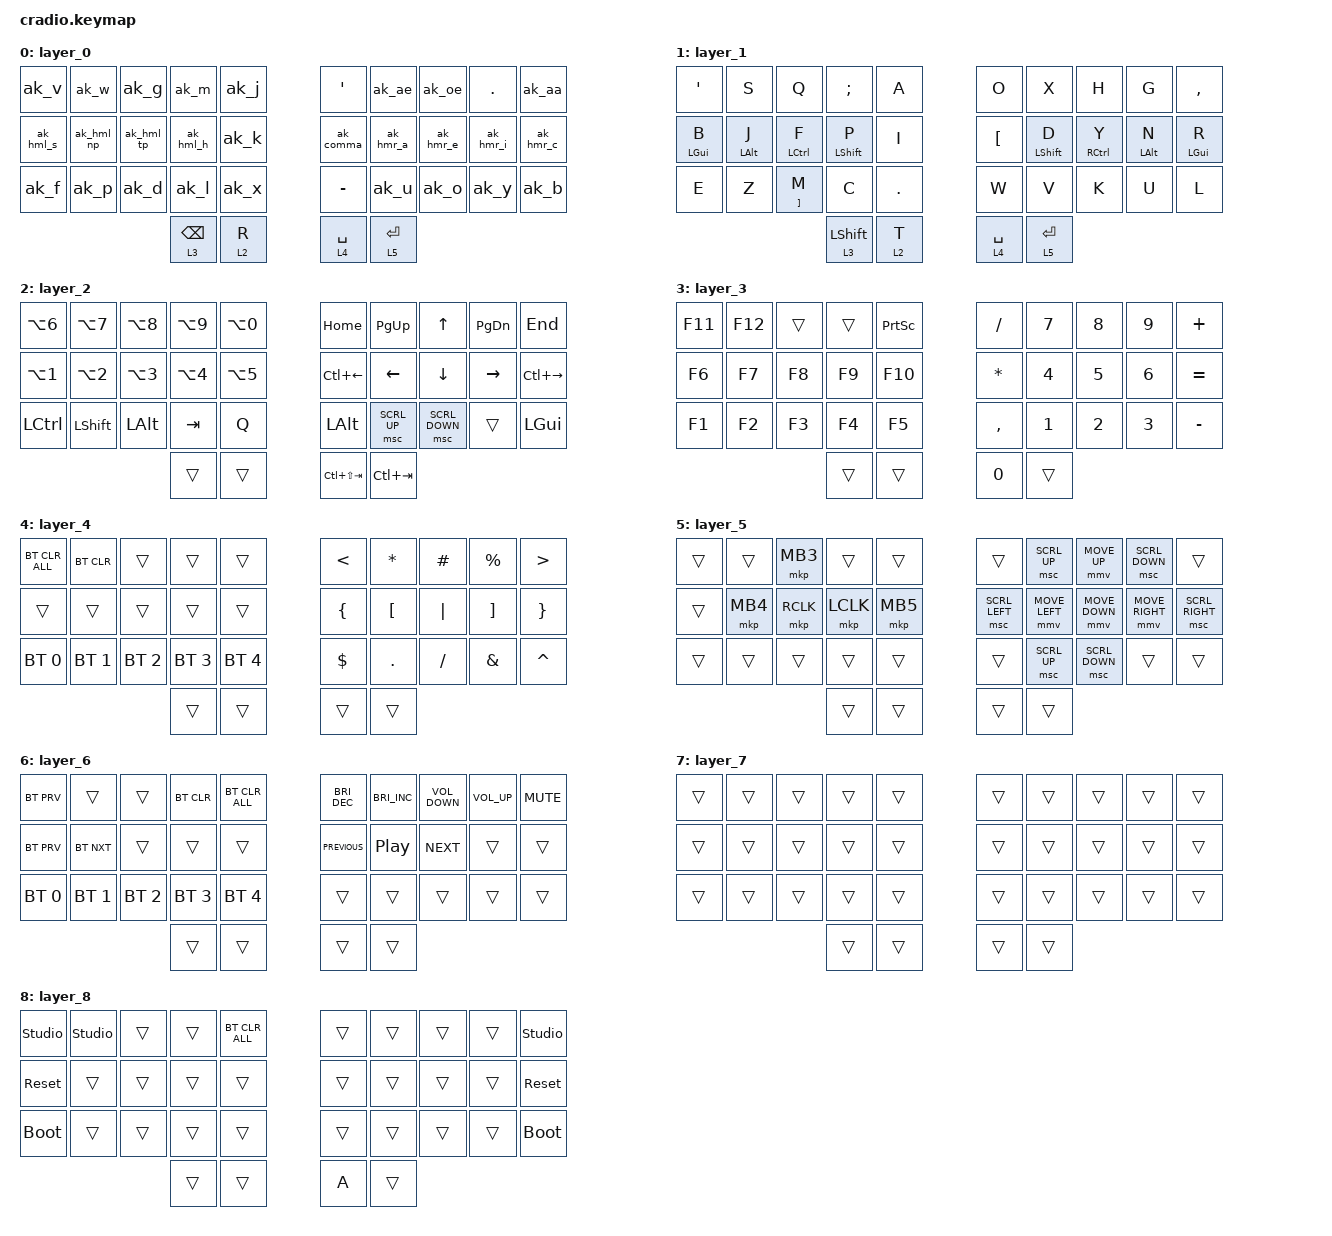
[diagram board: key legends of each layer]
#include <behaviors.dtsi>
#include <dt-bindings/zmk/bt.h>
#include <dt-bindings/zmk/keys.h>
#include <dt-bindings/zmk/pointing.h>

// Using Urob's timeless homerow mods
// Trying to make sure that sticky shift only shifts one key after being pressed.

&sk {
    release-after-ms = <1000>;
    quick-release;
};

// Faster mouse movements

#define ZMK_POINTING_DEFAULT_MOVE_VAL 1500  // default: 600
#define ZMK_POINTING_DEFAULT_SCRL_VAL 20    // default: 10

/ {
    behaviors {
        hml: home_row_mod_left {
            compatible = "zmk,behavior-hold-tap";
            #binding-cells = <2>;
            flavor = "balanced";
            require-prior-idle-ms = <150>;
            tapping-term-ms = <280>;
            quick-tap-ms = <175>;
            bindings = <&kp>, <&kp>;

            hold-trigger-key-positions = <0 1 2 3 4 10 11 12 13 14 20 21 22 23 24 30 31>; // List of keys on the right side of the keyboard
            hold-trigger-on-release;
        };

        hmr: home_row_mod_right {
            compatible = "zmk,behavior-hold-tap";
            #binding-cells = <2>;
            flavor = "balanced";
            require-prior-idle-ms = <150>;
            tapping-term-ms = <280>;
            quick-tap-ms = <175>;
            bindings = <&kp>, <&kp>;

            hold-trigger-key-positions = <5 6 7 8 9 15 16 17 18 19 25 26 27 28 29 32 33>; // List of keys on the left side of the keyboard
            hold-trigger-on-release;
        };
        // Make function to allow copy on tap and cut on hold
        copy_cut: copy_cut {
            compatible = "zmk,behavior-hold-tap";
            #binding-cells = <2>;
            flavor = "tap-preferred";
            tapping-term-ms = <200>;
            bindings = <&kp>, <&kp>;
        };
        // Comma Magic for homerow-mod S: tap after comma = capital S, hold = mod (unaffected)

        ak_hml_s: ak_hml_s {
            compatible = "zmk,behavior-adaptive-key";
            #binding-cells = <0>;
            bindings = <&hml LEFT_GUI S>;

            akt_comma_s {
                trigger-keys = <COMMA>;
                bindings = <&comma_cap_s>;
                max-prior-idle-ms = <500>;
            };
        };

        ak_hml_h: ak_hml_h {
            compatible = "zmk,behavior-adaptive-key";
            #binding-cells = <0>;
            bindings = <&hml LEFT_SHIFT H>;

            akt_comma_s {
                trigger-keys = <COMMA>;
                bindings = <&comma_cap_h>;
                max-prior-idle-ms = <500>;
            };
        };

        ak_hml_c: ak_hml_c {
            compatible = "zmk,behavior-adaptive-key";
            #binding-cells = <0>;
            bindings = <&hml LALT C>;

            akt_comma_c {
                trigger-keys = <COMMA>;
                bindings = <&comma_cap_c>;
                max-prior-idle-ms = <500>;
            };
        };

        ak_hmr_c: ak_hmr_c {
            compatible = "zmk,behavior-adaptive-key";
            #binding-cells = <0>;
            bindings = <&hmr LEFT_GUI C>;

            akt_comma_c {
                trigger-keys = <COMMA>;
                bindings = <&comma_cap_c>;
                max-prior-idle-ms = <500>;
            };
        };

        ak_hml_n: ak_hml_n {
            compatible = "zmk,behavior-adaptive-key";
            #binding-cells = <0>;
            bindings = <&hml LEFT_CONTROL N>;

            akt_comma_n {
                trigger-keys = <COMMA>;
                bindings = <&comma_cap_n>;
                max-prior-idle-ms = <500>;
            };
        };

        ak_hml_np: ak_hml_np {
            compatible = "zmk,behavior-adaptive-key";
            #binding-cells = <0>;
            bindings = <&hml LALT N>;

            akt_comma_n {
                trigger-keys = <COMMA>;
                bindings = <&comma_cap_n>;
                max-prior-idle-ms = <500>;
            };
        };

        ak_hml_t: ak_hml_t {
            compatible = "zmk,behavior-adaptive-key";
            #binding-cells = <0>;
            bindings = <&hml LEFT_SHIFT T>;

            akt_comma_t {
                trigger-keys = <COMMA>;
                bindings = <&comma_cap_t>;
                max-prior-idle-ms = <500>;
            };
        };

        ak_hml_tp: ak_hml_tp {
            compatible = "zmk,behavior-adaptive-key";
            #binding-cells = <0>;
            bindings = <&hml LEFT_CONTROL T>;

            akt_comma_t {
                trigger-keys = <COMMA>;
                bindings = <&comma_cap_t>;
                max-prior-idle-ms = <500>;
            };
        };

        // Make two commas do CAPSWORD
        ak_comma: ak_comma {
            compatible = "zmk,behavior-adaptive-key";
            #binding-cells = <0>;
            bindings = <&kp COMMA>;

            akt_comma_caps {
                trigger-keys = <COMMA>;
                bindings = <&kp BSPC &caps_word>;
                max-prior-idle-ms = <500>;
            };
        };
        // Adding linger on mjagkij znak - tvjordij znak
        linger: linger {
            compatible = "zmk,behavior-hold-tap";
            #binding-cells = <2>;
            flavor = "tap-preferred";
            tapping-term-ms = <200>;
            bindings = <&kp>, <&kp>;
        };
        // Comma Magic for homerow-mod A

        ak_hmr_a: ak_hmr_a {
            compatible = "zmk,behavior-adaptive-key";
            #binding-cells = <0>;
            bindings = <&hmr LEFT_SHIFT A>;

            akt_comma_a2 {
                trigger-keys = <COMMA>;
                bindings = <&comma_cap_a>;
                max-prior-idle-ms = <500>;
            };
        };

        ak_hmr_e: ak_hmr_e {
            compatible = "zmk,behavior-adaptive-key";
            #binding-cells = <0>;
            bindings = <&hmr RIGHT_CONTROL E>;

            akt_comma_e {
                trigger-keys = <COMMA>;
                bindings = <&comma_cap_e>;
                max-prior-idle-ms = <500>;
            };
        };

        ak_hmr_i: ak_hmr_i {
            compatible = "zmk,behavior-adaptive-key";
            #binding-cells = <0>;
            bindings = <&hmr LALT I>;

            akt_comma_i {
                trigger-keys = <COMMA>;
                bindings = <&comma_cap_i>;
                max-prior-idle-ms = <500>;
            };
        };

        ak_hmr_h: ak_hmr_h {
            compatible = "zmk,behavior-adaptive-key";
            #binding-cells = <0>;
            bindings = <&hmr LEFT_GUI H>;

            akt_comma_h {
                trigger-keys = <COMMA>;
                bindings = <&comma_cap_h>;
                max-prior-idle-ms = <500>;
            };
        };

        // Layer-tap with one-shot Shift on tap: tap = sticky shift, hold = layer (first parameter).
        // Used on the Russian layer's left thumb key at position 30 (where Backspace sits on the base layer).
        lt_sk: layer_tap_sticky_shift {
            compatible = "zmk,behavior-hold-tap";
            #binding-cells = <2>;
            flavor = "balanced";
            tapping-term-ms = <200>;
            bindings = <&mo>, <&sk>;
        };

        // Layer-tap for R: hold = layer (param), tap = comma-aware R

        lt_r: layer_tap_r {
            compatible = "zmk,behavior-hold-tap";
            #binding-cells = <2>;
            flavor = "balanced";
            tapping-term-ms = <150>;
            require-prior-idle-ms = <150>;
            bindings = <&mo>, <&ak_r>;
        };

        // Comma Magic test: typing comma then G capitalizes it (deletes the comma)

        ak_g: ak_g {
            compatible = "zmk,behavior-adaptive-key";
            #binding-cells = <0>;
            bindings = <&kp G>;

            akt_comma_g {
                trigger-keys = <COMMA>;
                bindings = <&kp BSPC &kp LS(G)>;
                max-prior-idle-ms = <500>;
            };
        };

        ak_x: ak_x {
            compatible = "zmk,behavior-adaptive-key";
            #binding-cells = <0>;
            bindings = <&kp X>;

            akt_comma_x {
                trigger-keys = <COMMA>;
                bindings = <&kp BSPC &kp LS(X)>;
                max-prior-idle-ms = <500>;
            };
        };

        ak_q: ak_q {
            compatible = "zmk,behavior-adaptive-key";
            #binding-cells = <0>;
            bindings = <&kp Q>;

            akt_comma_q {
                trigger-keys = <COMMA>;
                bindings = <&kp BSPC &kp LS(Q)>;
                max-prior-idle-ms = <500>;
            };
        };

        ak_r: ak_r {
            compatible = "zmk,behavior-adaptive-key";
            #binding-cells = <0>;
            bindings = <&kp R>;

            akt_comma_r {
                trigger-keys = <COMMA>;
                bindings = <&kp BSPC &kp LS(R)>;
                max-prior-idle-ms = <500>;
            };
        };

        ak_m: ak_m {
            compatible = "zmk,behavior-adaptive-key";
            #binding-cells = <0>;
            bindings = <&kp M>;

            akt_comma_m {
                trigger-keys = <COMMA>;
                bindings = <&kp BSPC &kp LS(M)>;
                max-prior-idle-ms = <500>;
            };
        };

        ak_p: ak_p {
            compatible = "zmk,behavior-adaptive-key";
            #binding-cells = <0>;
            bindings = <&kp P>;

            akt_comma_p {
                trigger-keys = <COMMA>;
                bindings = <&kp BSPC &kp LS(P)>;
                max-prior-idle-ms = <500>;
            };
        };

        ak_j: ak_j {
            compatible = "zmk,behavior-adaptive-key";
            #binding-cells = <0>;
            bindings = <&kp J>;

            akt_comma_j {
                trigger-keys = <COMMA>;
                bindings = <&kp BSPC &kp LS(J)>;
                max-prior-idle-ms = <500>;
            };
        };

        ak_w: ak_w {
            compatible = "zmk,behavior-adaptive-key";
            #binding-cells = <0>;
            bindings = <&kp W>;

            akt_comma_w {
                trigger-keys = <COMMA>;
                bindings = <&kp BSPC &kp LS(W)>;
                max-prior-idle-ms = <500>;
            };
        };

        ak_f: ak_f {
            compatible = "zmk,behavior-adaptive-key";
            #binding-cells = <0>;
            bindings = <&kp F>;

            akt_comma_f {
                trigger-keys = <COMMA>;
                bindings = <&kp BSPC &kp LS(F)>;
                max-prior-idle-ms = <500>;
            };
        };

        ak_l: ak_l {
            compatible = "zmk,behavior-adaptive-key";
            #binding-cells = <0>;
            bindings = <&kp L>;

            akt_comma_l {
                trigger-keys = <COMMA>;
                bindings = <&kp BSPC &kp LS(L)>;
                max-prior-idle-ms = <500>;
            };
        };

        ak_d: ak_d {
            compatible = "zmk,behavior-adaptive-key";
            #binding-cells = <0>;
            bindings = <&kp D>;

            akt_comma_d {
                trigger-keys = <COMMA>;
                bindings = <&kp BSPC &kp LS(D)>;
                max-prior-idle-ms = <500>;
            };
        };

        ak_v: ak_v {
            compatible = "zmk,behavior-adaptive-key";
            #binding-cells = <0>;
            bindings = <&kp V>;

            akt_comma_v {
                trigger-keys = <COMMA>;
                bindings = <&kp BSPC &kp LS(V)>;
                max-prior-idle-ms = <500>;
            };
        };

        ak_u: ak_u {
            compatible = "zmk,behavior-adaptive-key";
            #binding-cells = <0>;
            bindings = <&kp U>;

            akt_comma_u {
                trigger-keys = <COMMA>;
                bindings = <&kp BSPC &kp LS(U)>;
                max-prior-idle-ms = <500>;
            };
        };

        ak_o: ak_o {
            compatible = "zmk,behavior-adaptive-key";
            #binding-cells = <0>;
            bindings = <&kp O>;

            akt_comma_o {
                trigger-keys = <COMMA>;
                bindings = <&kp BSPC &kp LS(O)>;
                max-prior-idle-ms = <500>;
            };
        };

        ak_y: ak_y {
            compatible = "zmk,behavior-adaptive-key";
            #binding-cells = <0>;
            bindings = <&kp Y>;

            akt_comma_y {
                trigger-keys = <COMMA>;
                bindings = <&kp BSPC &kp LS(Y)>;
                max-prior-idle-ms = <500>;
            };
        };

        ak_b: ak_b {
            compatible = "zmk,behavior-adaptive-key";
            #binding-cells = <0>;
            bindings = <&kp B>;

            akt_comma_b {
                trigger-keys = <COMMA>;
                bindings = <&kp BSPC &kp LS(B)>;
                max-prior-idle-ms = <500>;
            };
        };

        ak_k: ak_k {
            compatible = "zmk,behavior-adaptive-key";
            #binding-cells = <0>;
            bindings = <&kp K>;

            akt_comma_k {
                trigger-keys = <COMMA>;
                bindings = <&kp BSPC &kp LS(K)>;
                max-prior-idle-ms = <500>;
            };
        };

        //Adding stuff needed for the Thornium layout
        ak_h: ak_h {
            compatible = "zmk,behavior-adaptive-key";
            #binding-cells = <0>;
            bindings = <&kp H>;

            akt_comma_h_plain {
                trigger-keys = <COMMA>;
                bindings = <&kp BSPC &kp LS(H)>;
                max-prior-idle-ms = <500>;
            };
        };

        ak_hmr_m: ak_hmr_m {
            compatible = "zmk,behavior-adaptive-key";
            #binding-cells = <0>;
            bindings = <&hmr LEFT_GUI M>;

            akt_comma_m_hmr {
                trigger-keys = <COMMA>;
                bindings = <&kp BSPC &kp LS(M)>;
                max-prior-idle-ms = <500>;
            };
        };

        // Comma Magic for umlaut macros: comma + umlaut produces the capitalized umlaut

        ak_ae: ak_ae {
            compatible = "zmk,behavior-adaptive-key";
            #binding-cells = <0>;
            bindings = <&ae_umlaut>;

            akt_comma_ae {
                trigger-keys = <COMMA>;
                bindings = <&kp BSPC &kp RA(LS(A))>;
                max-prior-idle-ms = <500>;
            };
        };

        ak_aa: ak_aa {
            compatible = "zmk,behavior-adaptive-key";
            #binding-cells = <0>;
            bindings = <&aa_umlaut>;

            akt_comma_aa {
                trigger-keys = <COMMA>;
                bindings = <&kp BSPC &kp RA(LS(W))>;
                max-prior-idle-ms = <500>;
            };
        };

        ak_oe: ak_oe {
            compatible = "zmk,behavior-adaptive-key";
            #binding-cells = <0>;
            bindings = <&oe_umlaut>;

            akt_comma_oe {
                trigger-keys = <COMMA>;
                bindings = <&kp BSPC &kp RA(LS(O))>;
                max-prior-idle-ms = <500>;
            };
        };
    };

    // Maybe add require-idle-ms 150 for horizontal combos and change timeout-ms to 30 for vertical and idle to 50 as per urob

    combos {
        compatible = "zmk,combos";

        //    timeout-ms = <20>;

        m_enter {
            bindings = <&kp ENTER>;
            key-positions = <16 17 18>;
            timeout-ms = <20>;
            require-prior-idle-ms = <150>;
        };

        th {
            bindings = <&th>;
            key-positions = <12 13>;
            timeout-ms = <20>;
        };

        left_par {
            bindings = <&kp LEFT_PARENTHESIS>;
            key-positions = <16 17>;
            timeout-ms = <20>;
            require-prior-idle-ms = <150>;
        };

        right_par {
            bindings = <&kp RIGHT_PARENTHESIS>;
            key-positions = <17 18>;
            timeout-ms = <20>;
            require-prior-idle-ms = <150>;
        };

        // equals {
        //     bindings = <&kp EQUAL>;
        //     key-positions = <18 19>;
        //     timeout-ms = <20>;
        // };


        acute {
            bindings = <&kp RA(APOS)>;
            key-positions = <1 11>;
            timeout-ms = <30>;
            require-prior-idle-ms = <50>;
            layers = <0>;
        };

        colon {
            bindings = <&kp COLON>;
            key-positions = <16 18>;
            timeout-ms = <20>;
            require-prior-idle-ms = <150>;
        };

        curvy {
            bindings = <&kp TILDE>;
            key-positions = <25 29>;
            timeout-ms = <20>;
            require-prior-idle-ms = <150>;
        };

        underscore {
            bindings = <&kp UNDER>;
            key-positions = <28 26>;
            timeout-ms = <20>;
            require-prior-idle-ms = <150>;
        };

        snabela {
            bindings = <&kp AT>;
            key-positions = <5 6>;
            timeout-ms = <20>;
            require-prior-idle-ms = <150>;
        };

        tab {
            bindings = <&kp TAB>;
            key-positions = <0 1>;
            timeout-ms = <20>;
            require-prior-idle-ms = <150>;
        };

        Stab {
            bindings = <&kp LS(TAB)>;
            key-positions = <0 1 2>;
            timeout-ms = <20>;
            require-prior-idle-ms = <150>;
        };

        space {
            bindings = <&kp SPACE>;
            key-positions = <13 14>;
            timeout-ms = <20>;
            require-prior-idle-ms = <150>;
        };

        escape {
            bindings = <&kp ESCAPE>;
            key-positions = <10 13>;
            timeout-ms = <20>;
            require-prior-idle-ms = <150>;
        };

        zed {
            bindings = <&kp Z>;
            key-positions = <11 13>;
            timeout-ms = <20>;
            require-prior-idle-ms = <150>;
            layers = <0>;
        };

        excl {
            bindings = <&kp EXCLAMATION>;
            key-positions = <6 7>;
            timeout-ms = <20>;
        };

        doubleq {
            bindings = <&kp DOUBLE_QUOTES>;
            key-positions = <6 8>;
            timeout-ms = <20>;
        };

        semicolon {
            bindings = <&kp SEMICOLON>;
            key-positions = <3 4>;
            timeout-ms = <20>;
        };

        question {
            bindings = <&kp QUESTION>;
            key-positions = <7 8>;
            timeout-ms = <20>;
        };

        Backspace {
            bindings = <&kp BACKSPACE>;
            key-positions = <15 16>;
            timeout-ms = <20>;
        };

        ion {
            bindings = <&ion>;
            key-positions = <6 7 8>;
            timeout-ms = <20>;
            layers = <0>;
        };

        ing {
            bindings = <&ing>;
            key-positions = <26 27 28>;
            timeout-ms = <20>;
            layers = <0>;
        };

        gh {
            bindings = <&gh>;
            key-positions = <2 3>;
            timeout-ms = <20>;
            layers = <0>;
        };

        wh {
            bindings = <&wh>;
            key-positions = <1 2>;
            timeout-ms = <20>;
            layers = <0>;
        };

        sh {
            bindings = <&sh>;
            key-positions = <10 11>;
            timeout-ms = <20>;
            layers = <0>;
        };

        ch {
            bindings = <&ch>;
            key-positions = <11 12>;
            timeout-ms = <20>;
            layers = <0>;
        };

        ph {
            bindings = <&ph>;
            key-positions = <20 21>;
            timeout-ms = <20>;
            layers = <0>;
        };

        tsya {
            bindings = <&tsya>;
            key-positions = <21 23>;
            layers = <1>;
            timeout-ms = <20>;
        };

        copy {
            bindings = <&copy_cut LC(X) LC(C)>;
            key-positions = <21 22>;
            timeout-ms = <20>;
            require-prior-idle-ms = <150>;
        };

        paste {
            bindings = <&kp LC(V)>;
            key-positions = <22 23>;
            timeout-ms = <20>;
            require-prior-idle-ms = <150>;
        };

        sall {
            bindings = <&kp LC(A)>;
            key-positions = <20 23>;
            timeout-ms = <20>;
            require-prior-idle-ms = <150>;
        };

        undo {
            bindings = <&kp LC(Z)>;
            key-positions = <20 21 22>;
            timeout-ms = <20>;
            require-prior-idle-ms = <150>;
        };

        redo {
            bindings = <&kp LC(LS(Z))>;
            key-positions = <20 21 22 23>;
            timeout-ms = <20>;
            require-prior-idle-ms = <150>;
        };

        quit {
            bindings = <&kp LC(Q)>;
            key-positions = <4 14>;
            timeout-ms = <30>;
            require-prior-idle-ms = <50>;
        };

        new {
            bindings = <&kp LC(N)>;
            key-positions = <14 24>;
            timeout-ms = <20>;
            require-prior-idle-ms = <150>;
        };

        close {
            bindings = <&kp LC(W)>;
            key-positions = <5 15>;
            timeout-ms = <30>;
            require-prior-idle-ms = <50>;
        };

        open {
            bindings = <&kp LC(O)>;
            key-positions = <5 25>;
            timeout-ms = <20>;
            require-prior-idle-ms = <150>;
        };

        selword {
            bindings = <&selword>;
            key-positions = <20 24>;
            timeout-ms = <20>;
            require-prior-idle-ms = <150>;
        };

        findsel {
            bindings = <&findsel>;
            key-positions = <10 14>;
            timeout-ms = <20>;
            require-prior-idle-ms = <150>;
        };

        slash {
            bindings = <&kp SLASH>;
            key-positions = <1 2 3>;
            timeout-ms = <20>;
        };

        altslash {
            bindings = <&kp SLASH>;
            key-positions = <17 27>;
            timeout-ms = <30>;
            require-prior-idle-ms = <50>;
        };

        pipe {
            bindings = <&kp PIPE>;
            key-positions = <18 28>;
            timeout-ms = <30>;
            require-prior-idle-ms = <50>;
        };

        plus {
            bindings = <&kp PLUS>;
            key-positions = <6 16>;
            timeout-ms = <30>;
            require-prior-idle-ms = <50>;
        };

        minus {
            bindings = <&kp MINUS>;
            key-positions = <16 26>;
            timeout-ms = <30>;
            require-prior-idle-ms = <50>;
        };

        asterix {
            bindings = <&kp ASTRK>;
            key-positions = <7 17>;
            timeout-ms = <30>;
            require-prior-idle-ms = <50>;
        };

        andthen {
            bindings = <&kp AMPS>;
            key-positions = <8 18>;
            timeout-ms = <30>;
            require-prior-idle-ms = <50>;
        };

        lbracket {
            bindings = <&kp LEFT_BRACKET>;
            key-positions = <26 27>;
            timeout-ms = <20>;
            require-prior-idle-ms = <150>;
        };

        rbracket {
            bindings = <&kp RIGHT_BRACKET>;
            key-positions = <27 28>;
            timeout-ms = <20>;
            require-prior-idle-ms = <150>;
        };

        q {
            bindings = <&ak_q>;
            key-positions = <9 19>;
            timeout-ms = <30>;
            require-prior-idle-ms = <50>;
        };

        del {
            bindings = <&kp DELETE>;
            key-positions = <8 9>;
            timeout-ms = <20>;
            require-prior-idle-ms = <150>;
        };

        hash {
            bindings = <&kp HASH>;
            key-positions = <2 12>;
            timeout-ms = <30>;
            require-prior-idle-ms = <50>;
        };

        dollar {
            bindings = <&kp DOLLAR>;
            key-positions = <3 13>;
            timeout-ms = <30>;
            require-prior-idle-ms = <50>;
        };

        equality {
            bindings = <&kp EQUAL>;
            key-positions = <13 23>;
            timeout-ms = <30>;
            require-prior-idle-ms = <50>;
        };

        porciento {
            bindings = <&kp PERCENT>;
            key-positions = <0 10>;
            timeout-ms = <30>;
            require-prior-idle-ms = <50>;
        };

        grave {
            bindings = <&kp GRAVE>;
            key-positions = <10 20>;
            timeout-ms = <30>;
            require-prior-idle-ms = <50>;
        };

        backslash {
            bindings = <&kp BACKSLASH>;
            key-positions = <12 22>;
            timeout-ms = <30>;
            require-prior-idle-ms = <50>;
        };

        hd_enter {
            bindings = <&kp ENTER>;
            key-positions = <23 24>;
            timeout-ms = <20>;
            require-prior-idle-ms = <150>;
        };

        que {
            bindings = <&qu>;
            key-positions = <1 3>;
            timeout-ms = <20>;
            layers = <0>;
        };

        sch {
            bindings = <&sch>;
            key-positions = <10 11 12>;
            timeout-ms = <20>;
            layers = <0>;
        };

        tch {
            bindings = <&tch>;
            key-positions = <10 11 13>;
            timeout-ms = <20>;
            layers = <0>;
        };

        Ill {
            bindings = <&Ill>;
            key-positions = <18 23>;
            timeout-ms = <30>;
            layers = <0>;
        };

        Ive {
            bindings = <&Ive>;
            key-positions = <0 18>;
            timeout-ms = <30>;
            layers = <0>;
        };

        Id {
            bindings = <&Id>;
            key-positions = <18 22>;
            timeout-ms = <30>;
            layers = <0>;
        };

        Im {
            bindings = <&Im>;
            key-positions = <3 18>;
            timeout-ms = <20>;
            require-prior-idle-ms = <150>;
            layers = <0>;
        };

        Ime {
            bindings = <&kp LS(I)>;
            key-positions = <2 18>;
            timeout-ms = <20>;
            require-prior-idle-ms = <150>;
            layers = <0>;
        };

        youll {
            bindings = <&youll>;
            key-positions = <23 28>;
            timeout-ms = <30>;
            layers = <0>;
        };

        youve {
            bindings = <&youve>;
            key-positions = <0 28>;
            timeout-ms = <30>;
            layers = <0>;
        };

        youd {
            bindings = <&youd>;
            key-positions = <22 28>;
            timeout-ms = <30>;
            layers = <0>;
        };

        your {
            bindings = <&your>;
            key-positions = <28 30>;
            timeout-ms = <30>;
            layers = <0>;
        };

        // Not needed here: Promethium is layer 0 on this board. If you restore the old base
        // layer, re-add the toggle like this (and renumber the layers):
        // promethium_toggle {
        // bindings = <&tog 1>;
        // key-positions = <1 8>;
        // timeout-ms = <30>;
        // require-prior-idle-ms = <150>;
        // };

        //Add layer toggle from Russian layer
        russian_toggle {
            bindings = <&tog 1>;
            key-positions = <0 9>;
            timeout-ms = <30>;
            require-prior-idle-ms = <150>;
        };

        // Russian layer only: comma and dot on the top-row keys (this board has no outer pinky keys).
        // On the Russian host layout the dot is the slash key and the comma is Shift+slash.
        ru_comma {
            bindings = <&kp LS(SLASH)>;
            key-positions = <1 2>;
            layers = <1>;
            timeout-ms = <20>;
            require-prior-idle-ms = <50>;
        };

        ru_dot {
            bindings = <&kp SLASH>;
            key-positions = <2 3>;
            layers = <1>;
            timeout-ms = <20>;
            require-prior-idle-ms = <50>;
        };
    };

    // Maybe add timing to digraph macros - tap-ms = 10 (is the value that HD creator uses.)

    macros {
        comma_cap_s: comma_cap_s {
            compatible = "zmk,behavior-macro";
            #binding-cells = <0>;
            bindings = <&kp BSPC &kp LS(S)>;
            label = "COMMA_CAP_S";
        };

        comma_cap_c: comma_cap_c {
            compatible = "zmk,behavior-macro";
            #binding-cells = <0>;
            bindings = <&kp BSPC &kp LS(C)>;
            label = "COMMA_CAP_C";
        };

        comma_cap_n: comma_cap_n {
            compatible = "zmk,behavior-macro";
            #binding-cells = <0>;
            bindings = <&kp BSPC &kp LS(N)>;
            label = "COMMA_CAP_N";
        };

        comma_cap_t: comma_cap_t {
            compatible = "zmk,behavior-macro";
            #binding-cells = <0>;
            bindings = <&kp BSPC &kp LS(T)>;
            label = "COMMA_CAP_T";
        };

        comma_cap_a: comma_cap_a {
            compatible = "zmk,behavior-macro";
            #binding-cells = <0>;
            bindings = <&kp BSPC &kp LS(A)>;
            label = "COMMA_CAP_A";
        };

        comma_cap_e: comma_cap_e {
            compatible = "zmk,behavior-macro";
            #binding-cells = <0>;
            bindings = <&kp BSPC &kp LS(E)>;
            label = "COMMA_CAP_E";
        };

        comma_cap_i: comma_cap_i {
            compatible = "zmk,behavior-macro";
            #binding-cells = <0>;
            bindings = <&kp BSPC &kp LS(I)>;
            label = "COMMA_CAP_I";
        };

        comma_cap_h: comma_cap_h {
            compatible = "zmk,behavior-macro";
            #binding-cells = <0>;
            bindings = <&kp BSPC &kp LS(H)>;
            label = "COMMA_CAP_H";
        };

        ae_umlaut: ae_umlaut {
            compatible = "zmk,behavior-macro";
            #binding-cells = <0>;
            bindings = <&kp RA(A)>;
            label = "AE_UMLAUT";
        };

        aa_umlaut: aa_umlaut {
            compatible = "zmk,behavior-macro";
            #binding-cells = <0>;
            bindings = <&kp RA(W)>;
            label = "AA_UMLAUT";
        };

        oe_umlaut: oe_umlaut {
            compatible = "zmk,behavior-macro";
            #binding-cells = <0>;
            bindings = <&kp RA(O)>;
            label = "OE_UMLAUT";
        };

        // Plain adaptive-key for T (no mod), used only as the first step inside digraph macros

        ak_t: ak_t {
            compatible = "zmk,behavior-adaptive-key";
            #binding-cells = <0>;
            bindings = <&kp T>;

            akt_t_comma {
                trigger-keys = <COMMA>;
                bindings = <&kp BSPC &kp LS(T)>;
                max-prior-idle-ms = <500>;
                strict-modifiers;
            };
        };

        ak_c: ak_c {
            compatible = "zmk,behavior-adaptive-key";
            #binding-cells = <0>;
            bindings = <&kp C>;

            akt_c_comma {
                trigger-keys = <COMMA>;
                bindings = <&kp BSPC &kp LS(C)>;
                max-prior-idle-ms = <500>;
                strict-modifiers;
            };
        };

        ak_s: ak_s {
            compatible = "zmk,behavior-adaptive-key";
            #binding-cells = <0>;
            bindings = <&kp S>;

            akt_s_comma {
                trigger-keys = <COMMA>;
                bindings = <&kp BSPC &kp LS(S)>;
                max-prior-idle-ms = <500>;
                strict-modifiers;
            };
        };

        ak_i: ak_i {
            compatible = "zmk,behavior-adaptive-key";
            #binding-cells = <0>;
            bindings = <&kp I>;

            akt_i_comma {
                trigger-keys = <COMMA>;
                bindings = <&kp BSPC &kp LS(I)>;
                max-prior-idle-ms = <500>;
                strict-modifiers;
            };
        };

        ak_g2: ak_g2 {
            compatible = "zmk,behavior-adaptive-key";
            #binding-cells = <0>;
            bindings = <&kp G>;

            akt_g2_comma {
                trigger-keys = <COMMA>;
                bindings = <&kp BSPC &kp LS(G)>;
                max-prior-idle-ms = <500>;
                strict-modifiers;
            };
        };

        ak_p2: ak_p2 {
            compatible = "zmk,behavior-adaptive-key";
            #binding-cells = <0>;
            bindings = <&kp P>;

            akt_p2_comma {
                trigger-keys = <COMMA>;
                bindings = <&kp BSPC &kp LS(P)>;
                max-prior-idle-ms = <500>;
                strict-modifiers;
            };
        };

        th: th {
            compatible = "zmk,behavior-macro";
            #binding-cells = <0>;
            tap-ms = <10>;
            bindings =
                <&ak_t>,
                <&macro_release>,
                <&kp LSHFT>,
                <&macro_release>,
                <&kp RSHFT>,
                <&macro_tap>,
                <&kp H>;

            label = "TH";
        };

        ch: ch {
            compatible = "zmk,behavior-macro";
            #binding-cells = <0>;
            tap-ms = <10>;
            bindings =
                <&ak_c>,
                <&macro_release>,
                <&kp LSHFT>,
                <&macro_release>,
                <&kp RSHFT>,
                <&macro_tap>,
                <&kp H>;

            label = "CH";
        };

        sch: sch {
            compatible = "zmk,behavior-macro";
            #binding-cells = <0>;
            tap-ms = <10>;
            bindings =
                <&ak_s>,
                <&macro_release>,
                <&kp LSHFT>,
                <&macro_release>,
                <&kp RSHFT>,
                <&macro_tap>,
                <&kp C &kp H>;

            label = "SCH";
        };

        tch: tch {
            compatible = "zmk,behavior-macro";
            #binding-cells = <0>;
            tap-ms = <10>;
            bindings =
                <&ak_t>,
                <&macro_release>,
                <&kp LSHFT>,
                <&macro_release>,
                <&kp RSHFT>,
                <&macro_tap>,
                <&kp C &kp H>;

            label = "TCH";
        };

        qu: qu {
            compatible = "zmk,behavior-macro";
            #binding-cells = <0>;
            tap-ms = <10>;
            bindings =
                <&kp Q>,
                <&macro_release>,
                <&kp LSHFT>,
                <&macro_release>,
                <&kp RSHFT>,
                <&macro_tap>,
                <&kp U>;

            label = "QU";
        };

        wh: wh {
            compatible = "zmk,behavior-macro";
            #binding-cells = <0>;
            tap-ms = <10>;
            bindings =
                <&ak_w>,
                <&macro_release>,
                <&kp LSHFT>,
                <&macro_release>,
                <&kp RSHFT>,
                <&macro_tap>,
                <&kp H>;

            label = "WH";
        };

        sh: sh {
            compatible = "zmk,behavior-macro";
            #binding-cells = <0>;
            tap-ms = <10>;
            bindings =
                <&ak_s>,
                <&macro_release>,
                <&kp LSHFT>,
                <&macro_release>,
                <&kp RSHFT>,
                <&macro_tap>,
                <&kp H>;

            label = "SH";
        };

        ing: ing {
            compatible = "zmk,behavior-macro";
            #binding-cells = <0>;
            tap-ms = <10>;
            bindings =
                <&kp I>,
                <&macro_release>,
                <&kp LSHFT>,
                <&macro_release>,
                <&kp RSHFT>,
                <&macro_tap>,
                <&kp N &kp G>;

            label = "ING";
        };

        ion: ion {
            compatible = "zmk,behavior-macro";
            #binding-cells = <0>;
            tap-ms = <10>;
            bindings = <&kp I &kp O &kp N>;
            label = "ION";
        };

        gh: gh {
            compatible = "zmk,behavior-macro";
            #binding-cells = <0>;
            tap-ms = <10>;
            bindings =
                <&ak_g2>,
                <&macro_release>,
                <&kp LSHFT>,
                <&macro_release>,
                <&kp RSHFT>,
                <&macro_tap>,
                <&kp H>;

            label = "GH";
        };

        ph: ph {
            compatible = "zmk,behavior-macro";
            #binding-cells = <0>;
            tap-ms = <10>;
            bindings =
                <&ak_p2>,
                <&macro_release>,
                <&kp LSHFT>,
                <&macro_release>,
                <&kp RSHFT>,
                <&macro_tap>,
                <&kp H>;

            label = "PH";
        };

        findsel: findsel {
            compatible = "zmk,behavior-macro";
            #binding-cells = <0>;
            bindings =
                <&macro_tap>,
                <&kp LC(C)>,
                <&macro_tap>,
                <&kp LC(F)>,
                <&macro_tap>,
                <&kp LC(V)>,
                <&macro_tap>,
                <&kp RETURN>,
                <&macro_tap>,
                <&kp LC(G)>;

            label = "FINDSEL";
        };

        selword: selword {
            compatible = "zmk,behavior-macro";
            #binding-cells = <0>;
            bindings =
                <&macro_tap>,
                <&kp LC(LEFT)>,
                <&macro_tap>,
                <&kp LS(LC(RIGHT))>;

            label = "SELWORD";
        };

        your: your {
            compatible = "zmk,behavior-macro";
            #binding-cells = <0>;
            bindings =
                <&kp Y>,
                <&macro_release>,
                <&kp LSHFT>,
                <&macro_release>,
                <&kp RSHFT>,
                <&macro_tap>,
                <&kp O &kp U &kp R>;

            label = "YOUR";
        };

        Ill: Ill {
            compatible = "zmk,behavior-macro";
            #binding-cells = <0>;
            bindings = <&kp LS(I) &kp SQT &kp L &kp L &kp SPACE>;
            label = "ILL";
        };

        Id: Id {
            compatible = "zmk,behavior-macro";
            #binding-cells = <0>;
            bindings = <&kp LS(I) &kp SQT &kp D &kp SPACE>;
            label = "ID";
        };

        Im: Im {
            compatible = "zmk,behavior-macro";
            #binding-cells = <0>;
            bindings = <&kp LS(I) &kp SQT &kp M &kp SPACE>;
            label = "IM";
        };

        Ive: Ive {
            compatible = "zmk,behavior-macro";
            #binding-cells = <0>;
            bindings = <&kp LS(I) &kp SQT &kp V &kp E &kp SPACE>;
            label = "IVE";
        };

        youve: youve {
            compatible = "zmk,behavior-macro";
            #binding-cells = <0>;
            bindings =
                <&kp Y>,
                <&macro_release>,
                <&kp LSHFT>,
                <&macro_release>,
                <&kp RSHFT>,
                <&macro_tap>,
                <&kp O &kp U &kp APOSTROPHE &kp V &kp E &kp SPACE>;

            label = "YOUVE";
        };

        youre: youre {
            compatible = "zmk,behavior-macro";
            #binding-cells = <0>;
            bindings =
                <&kp Y>,
                <&macro_release>,
                <&kp LSHFT>,
                <&macro_release>,
                <&kp RSHFT>,
                <&macro_tap>,
                <&kp O &kp U &kp APOSTROPHE &kp R &kp E &kp SPACE>;

            label = "YOURE";
        };

        youd: youd {
            compatible = "zmk,behavior-macro";
            #binding-cells = <0>;
            bindings =
                <&kp Y>,
                <&macro_release>,
                <&kp LSHFT>,
                <&macro_release>,
                <&kp RSHFT>,
                <&macro_tap>,
                <&kp O &kp U &kp APOSTROPHE &kp D &kp SPACE>;

            label = "YOUD";
        };

        youll: youll {
            compatible = "zmk,behavior-macro";
            #binding-cells = <0>;
            bindings =
                <&kp Y>,
                <&macro_release>,
                <&kp LSHFT>,
                <&macro_release>,
                <&kp RSHFT>,
                <&macro_tap>,
                <&kp O &kp U &kp APOSTROPHE &kp L &kp L &kp SPACE>;

            label = "YOULL";
        };

        tsya: tsya {
            compatible = "zmk,behavior-macro";
            #binding-cells = <0>;
            tap-ms = <10>;
            bindings = <&kp N &kp M &kp C &kp Z>;
        };
    };

    keymap {
        compatible = "zmk,keymap";

        // ---- Previous base layer (kept for reference, not compiled) ----
        // It uses the OLD layer numbers (nav=1, numbers=2, symbols=3, mouse=4). To go back to it,
        // uncomment it as layer_0, move the two layers below up/down accordingly and renumber.
        // layer_0 {
        //     bindings = <
        // &ak_x      &ak_g      &ak_m      &ak_p            &ak_j        &kp APOS     &ak_ae       &kp COMMA    &kp DOT  &kp MINUS
        // &ak_hml_s  &ak_hml_c  &ak_hml_n  &ak_hml_t        &ak_k        &ak_aa       &ak_hmr_a    &ak_hmr_e  &ak_hmr_i  &ak_hmr_h
        // &ak_w      &ak_f      &ak_l      &ak_d            &ak_v        &ak_oe       &ak_u        &ak_o      &ak_y      &ak_b
        //                          &lt 2 BACKSPACE  &lt_r 1 R    &lt 3 SPACE  &lt 4 ENTER
        //     >;
        // };

        // Hands Down Promethium (base layer)
        layer_0 {
            bindings = <
                &ak_v      &ak_w       &ak_g       &ak_m            &ak_j        &kp APOS     &ak_ae       &ak_oe     &kp DOT    &ak_aa
                &ak_hml_s  &ak_hml_np  &ak_hml_tp  &ak_hml_h        &ak_k        &ak_comma    &ak_hmr_a    &ak_hmr_e  &ak_hmr_i  &ak_hmr_c
                &ak_f      &ak_p       &ak_d       &ak_l            &ak_x        &kp MINUS    &ak_u        &ak_o      &ak_y      &ak_b
                                                   &lt 3 BACKSPACE  &lt_r 2 R    &lt 4 SPACE  &lt 5 ENTER
            >;
        };

        // Russian (Sowa) - toggled with the russian_toggle combo
        layer_1 {
            bindings = <
                &kp APOS         &kp S        &kp Q                &kp SEMI           &kp A      &kp O        &kp X              &kp H                 &kp G        &kp COMMA
                &hml LEFT_GUI B  &hml LALT J  &hml LEFT_CONTROL F  &hml LEFT_SHIFT P  &kp I      &kp LBKT     &hmr LEFT_SHIFT D  &hmr RIGHT_CONTROL Y  &hmr LALT N  &hmr LEFT_GUI R
                &kp E            &kp Z        &linger RBKT M       &kp C              &kp DOT    &kp W        &kp V              &kp K                 &kp U        &kp L
                                                                   &lt_sk 3 LSHFT     &lt 2 T    &lt 4 SPACE  &lt 5 ENTER
            >;
        };

        layer_2 {
            bindings = <
&kp LA(NUMBER_6)  &kp LA(NUMBER_7)  &kp LA(N8)        &kp LA(N9)        &kp LA(N0)          &kp HOME            &kp PAGE_UP     &kp UP_ARROW    &kp PAGE_DOWN  &kp END
&kp LA(NUMBER_1)  &kp LA(NUMBER_2)  &kp LA(NUMBER_3)  &kp LA(NUMBER_4)  &kp LA(NUMBER_5)    &kp LC(LEFT_ARROW)  &kp LEFT_ARROW  &kp DOWN_ARROW  &kp RIGHT      &kp LC(RIGHT_ARROW)
&kp LEFT_CONTROL  &kp LEFT_SHIFT    &kp LEFT_ALT      &kp TAB           &kp Q               &kp LEFT_ALT        &msc SCRL_UP    &msc SCRL_DOWN  &trans         &kp LEFT_GUI
                                                      &trans            &trans              &kp LC(LS(TAB))     &kp LC(TAB)
            >;
        };
        layer_3 {
            bindings = <
&kp F11  &kp F12  &trans  &trans  &kp PRINTSCREEN    &kp SLASH  &kp N7        &kp N8        &kp N9        &kp PLUS
&kp F6   &kp F7   &kp F8  &kp F9  &kp F10            &kp ASTRK  &kp NUMBER_4  &kp N5        &kp NUMBER_6  &kp EQUAL
&kp F1   &kp F2   &kp F3  &kp F4  &kp F5             &kp COMMA  &kp NUMBER_1  &kp NUMBER_2  &kp NUMBER_3  &kp MINUS
                          &trans  &trans             &kp N0     &trans
            >;
        };
        layer_4 {
            bindings = <
&bt BT_CLR_ALL  &bt BT_CLR    &trans        &trans        &trans          &kp LESS_THAN   &kp ASTRK         &kp HASH   &kp PERCENT        &kp GREATER_THAN
&trans          &trans        &trans        &trans        &trans          &kp LEFT_BRACE  &kp LEFT_BRACKET  &kp PIPE   &kp RIGHT_BRACKET  &kp RIGHT_BRACE
&bt BT_SEL 0    &bt BT_SEL 1  &bt BT_SEL 2  &bt BT_SEL 3  &bt BT_SEL 4    &kp DOLLAR      &kp DOT           &kp SLASH  &kp AMPS           &kp CARET
                                            &trans        &trans          &trans          &trans
            >;
        };
        layer_5 {
            bindings = <
&trans  &trans    &mkp MB3   &trans     &trans      &trans          &msc SCRL_UP    &mmv MOVE_UP    &msc SCRL_DOWN   &trans
&trans  &mkp MB4  &mkp RCLK  &mkp LCLK  &mkp MB5    &msc SCRL_LEFT  &mmv MOVE_LEFT  &mmv MOVE_DOWN  &mmv MOVE_RIGHT  &msc SCRL_RIGHT
&trans  &trans    &trans     &trans     &trans      &trans          &msc SCRL_UP    &msc SCRL_DOWN  &trans           &trans
                             &trans     &trans      &trans          &trans
            >;
        };
        layer_6 {
            bindings = <
&bt BT_PRV    &trans        &trans        &bt BT_CLR    &bt BT_CLR_ALL    &kp C_BRIGHTNESS_DEC  &kp C_BRI_INC     &kp C_VOLUME_DOWN  &kp C_VOLUME_UP  &kp K_MUTE
&bt BT_PRV    &bt BT_NXT    &trans        &trans        &trans            &kp C_PREVIOUS        &kp C_PLAY_PAUSE  &kp C_NEXT         &trans           &trans
&bt BT_SEL 0  &bt BT_SEL 1  &bt BT_SEL 2  &bt BT_SEL 3  &bt BT_SEL 4      &trans                &trans            &trans             &trans           &trans
                                          &trans        &trans            &trans                &trans
            >;
        };
        layer_7 {
            bindings = <
&trans  &trans  &trans  &trans  &trans    &trans  &trans  &trans  &trans  &trans
&trans  &trans  &trans  &trans  &trans    &trans  &trans  &trans  &trans  &trans
&trans  &trans  &trans  &trans  &trans    &trans  &trans  &trans  &trans  &trans
                        &trans  &trans    &trans  &trans
            >;
        };
        layer_8 {
            bindings = <
&studio_unlock  &studio_unlock  &trans  &trans  &bt BT_CLR_ALL    &trans  &trans  &trans  &trans  &studio_unlock
&sys_reset      &trans          &trans  &trans  &trans            &trans  &trans  &trans  &trans  &sys_reset
&bootloader     &trans          &trans  &trans  &trans            &trans  &trans  &trans  &trans  &bootloader
                                        &trans  &trans            &kp A   &trans
            >;
        };
    };

    // Layer 2 (nav, RIGHT) + Layer 3 (numbers, LEFT) at the same time -> Layer 8 (TRI)

    conditional_layers {
        compatible = "zmk,conditional-layers";

        tri_layer {
            if-layers = <2 3>;
            then-layer = <8>;
        };

        funf {
            if-layers = <3 5>;
            then-layer = <6>;
        };
    };
};
